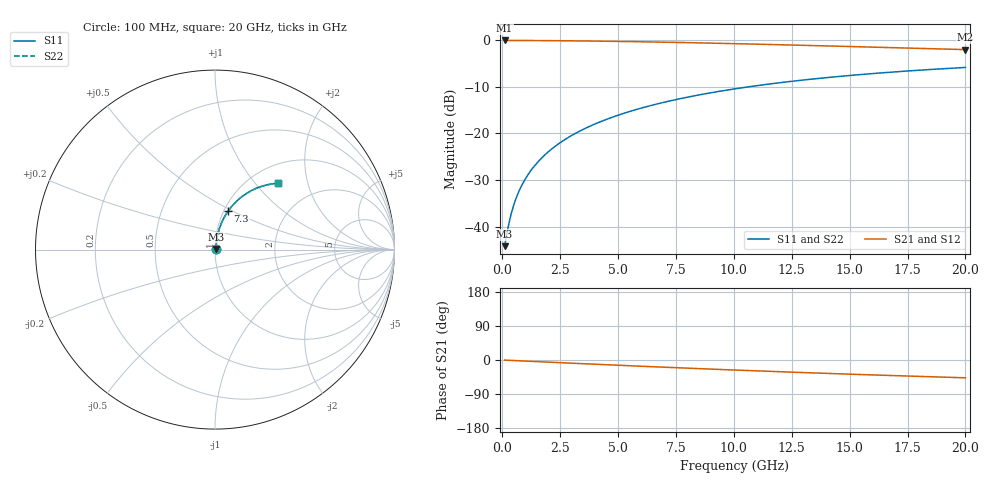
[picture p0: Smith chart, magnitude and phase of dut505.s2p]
! Touchstone file exported from HFSS 2024.1.0
!  File:  C:/UserFiles/LocalFiles/RDL_TSV_Batchsim/temp_RDL_bottom_505_1779687407.aedt
!  Generated:  01:39:24 PM May 25, 2026
!  Design:  RDL_bottom
!  Project:  temp_RDL_bottom_505_1779687407
!  Setup:  Setup1
!  Solution:  Sweep
! Variables:
!  dtsv = 10.80580581um
!  hbump = 3um
!  htsv = 75.4um
!  ldown = 616.36um
!  lrdl = 100um
!  p = 40
!  p1 = 49.35um
!  rhole = 1um
!  t = 450um
!  tdown = 3.47um
!  trdl = 3.915915916um
!  wdown = 12.17um
!  wrdl = 20um
# GHz S MA R 50.000000
! Terminal data exported
! Port[1] = RDL1_T1
! Port[2] = RDL1_T2
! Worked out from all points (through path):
!   200 points, 100 MHz to 20 GHz, reference 50 ohm
!   highest |S21| = -0.05 dB at 100 MHz (marker M1); lowest = -2.0 dB at 20 GHz (marker M2)
!   group delay of S21, straight-line fit = 6.53 ps
!   lowest |S11| = -44.2 dB at 100 MHz (marker M3), VSWR 1.01, Z = 50.5 + j0.333 ohm
!   |S11| at or under -10 dB: start of sweep to 10.63 GHz
!   |S22| runs from -44.2 to -5.8 dB; largest |S21 - S12| = 4.3e-15
!   S11 on the Smith chart (normalised r, x): 100 MHz: 1.01, +0.01; 7.3 GHz: 1.05, +0.47; 20 GHz: 1.33, +1.33
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0.1  0.006174 32.3  0.9948 -0.3  0.9948 -0.3  0.006174 32.3
! Gamma 0 0 0 0
! Port Impedance 50 0 50 0
0.2  0.008457 51.0  0.9947 -0.6  0.9947 -0.6  0.008457 51.0
0.3  0.01124 60.8  0.9946 -0.9  0.9946 -0.9  0.01124 60.8
0.4  0.0142 66.5  0.9944 -1.2  0.9944 -1.2  0.0142 66.5
0.5  0.01724 70.1  0.9942 -1.4  0.9942 -1.4  0.01724 70.1
0.6  0.0203 72.5  0.994 -1.7  0.994 -1.7  0.0203 72.5
0.8  0.02648 75.6  0.9936 -2.3  0.9936 -2.3  0.02648 75.6
1.1  0.0358 78.0  0.993 -3.1  0.993 -3.1  0.0358 78.0
1.5  0.04829 79.4  0.9919 -4.3  0.9919 -4.3  0.04829 79.4
1.8  0.05769 79.8  0.991 -5.1  0.991 -5.1  0.05769 79.8
2.1  0.06709 79.9  0.9899 -5.9  0.9899 -5.9  0.06709 79.9
2.7  0.08587 79.6  0.9872 -7.6  0.9872 -7.6  0.08587 79.6
3.5  0.1108 78.6  0.9828 -9.8  0.9828 -9.8  0.1108 78.6
4.2  0.1324 77.5  0.9781 -11.7  0.9781 -11.7  0.1324 77.5
5  0.1569 76.0  0.972 -13.9  0.972 -13.9  0.1569 76.0
6.8  0.2106 72.4  0.9555 -18.6  0.9555 -18.6  0.2106 72.3
7.3  0.2252 71.3  0.9504 -19.8  0.9504 -19.8  0.2251 71.3
8.6  0.262 68.6  0.9362 -23.1  0.9362 -23.1  0.2619 68.5
10.1  0.3025 65.4  0.9186 -26.7  0.9186 -26.7  0.3025 65.3
13.4  0.3836 58.6  0.8772 -34.1  0.8772 -34.1  0.3835 58.5
16.7  0.4529 52.2  0.8347 -40.8  0.8347 -40.8  0.4528 52.2
20  0.5106 46.3  0.7934 -47.0  0.7934 -47.0  0.5105 46.3
